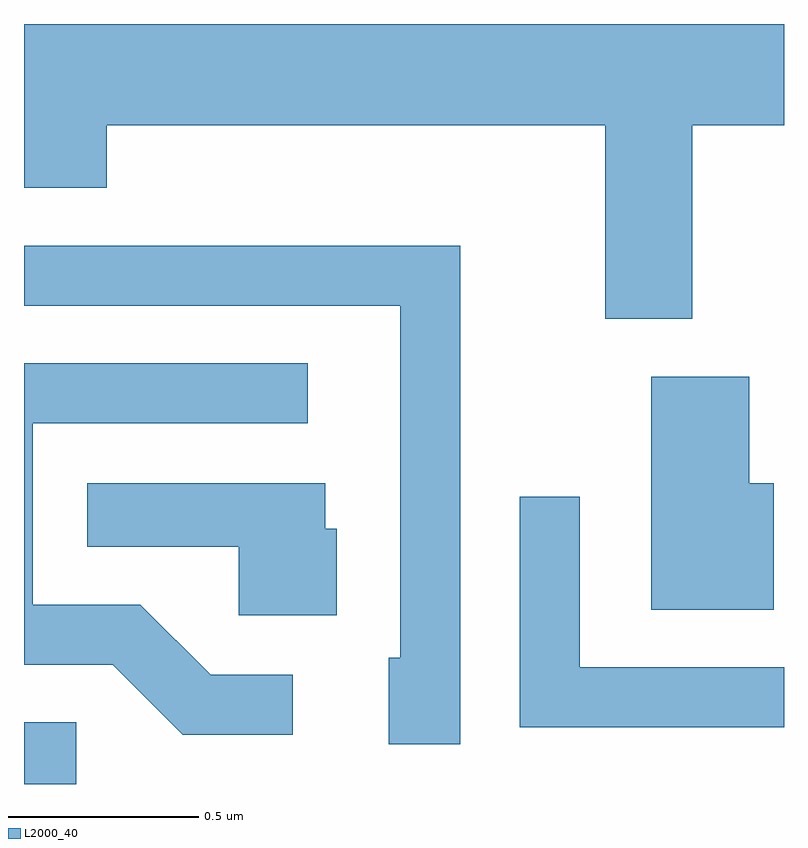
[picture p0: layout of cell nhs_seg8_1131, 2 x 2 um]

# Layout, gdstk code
import gdstk
lib = gdstk.Library(unit=1e-6, precision=1e-09)
def R(c, l, rs):  # rectangles x0, y0, x1, y1
    for r in rs: c.add(gdstk.rectangle(r[:2], r[2:], *l))
def P(c, l, *ps):  # polygons
    for p in ps: c.add(gdstk.Polygon(p, *l))
L2000_40 = (2000, 40)

nhs_seg8_1131 = lib.new_cell('nhs_seg8_1131')
R(nhs_seg8_1131, L2000_40, [(193.611,1841.342,193.749,1841.504)])
P(nhs_seg8_1131, L2000_40, [(195.369,1843.076),(195.611,1843.076),(195.611,1843.342),(193.611,1843.342),(193.611,1842.911),(193.829,1842.911),(193.829,1843.076),(195.141,1843.076),(195.141,1842.566),(195.369,1842.566)],
  [(194.759,1842.759),(193.611,1842.759),(193.611,1842.601),(194.601,1842.601),(194.601,1841.674),(194.571,1841.674),(194.571,1841.446),(194.759,1841.446)],
  [(194.318,1841.629),(194.102,1841.629),(193.917,1841.814),(193.634,1841.814),(193.634,1842.291),(194.358,1842.291),(194.358,1842.449),(193.611,1842.449),(193.611,1841.656),(193.844,1841.656),(194.029,1841.471),(194.318,1841.471)],
  [(195.584,1842.134),(195.519,1842.134),(195.519,1842.414),(195.261,1842.414),(195.261,1841.801),(195.584,1841.801)],
  [(194.434,1842.014),(194.404,1842.014),(194.404,1842.134),(193.778,1842.134),(193.778,1841.966),(194.176,1841.966),(194.176,1841.786),(194.434,1841.786)],
  [(195.611,1841.649),(195.074,1841.649),(195.074,1842.098),(194.916,1842.098),(194.916,1841.491),(195.611,1841.491)])

lib.write_gds('nhs_seg8_1131.gds')
